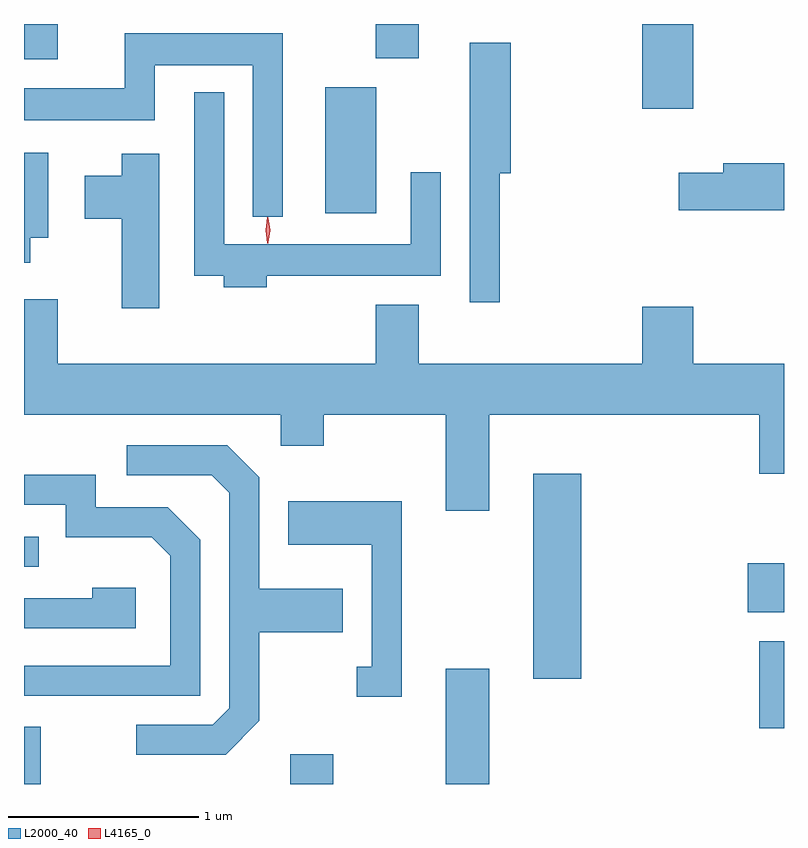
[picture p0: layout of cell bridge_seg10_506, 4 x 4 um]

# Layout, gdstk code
import gdstk
lib = gdstk.Library(unit=1e-6, precision=1e-09)
def R(c, l, rs):  # rectangles x0, y0, x1, y1
    for r in rs: c.add(gdstk.rectangle(r[:2], r[2:], *l))
def P(c, l, *ps):  # polygons
    for p in ps: c.add(gdstk.Polygon(p, *l))
L2000_40 = (2000, 40)
L4165_0 = (4165, 0)

bridge_seg10_506 = lib.new_cell('bridge_seg10_506')
R(bridge_seg10_506, L2000_40, [(771.261,2149.712,771.349,2150.014), (772.661,2149.712,772.889,2149.869), (773.481,2149.712,773.709,2150.319), (775.131,2150.006,775.261,2150.464), (773.941,2150.266,774.194,2151.344), (775.071,2150.616,775.261,2150.874), (771.261,2150.856,771.338,2151.014), (772.846,2152.716,773.114,2153.379), (774.516,2153.266,774.784,2153.712), (771.261,2153.526,771.439,2153.712), (773.111,2153.531,773.339,2153.712)])
P(bridge_seg10_506, L2000_40, [(772.624,2153.664),(771.791,2153.664),(771.791,2153.374),(771.261,2153.374),(771.261,2153.206),(771.949,2153.206),(771.949,2153.496),(772.466,2153.496),(772.466,2152.698),(772.624,2152.698)],
  [(773.764,2152.926),(773.824,2152.926),(773.824,2153.614),(773.606,2153.614),(773.606,2152.248),(773.764,2152.248)],
  [(772.539,2152.386),(773.454,2152.386),(773.454,2152.933),(773.296,2152.933),(773.296,2152.554),(772.314,2152.554),(772.314,2153.353),(772.156,2153.353),(772.156,2152.386),(772.311,2152.386),(772.311,2152.326),(772.539,2152.326)],
  [(771.294,2152.586),(771.389,2152.586),(771.389,2153.034),(771.261,2153.034),(771.261,2152.456),(771.294,2152.456)],
  [(771.974,2153.029),(771.776,2153.029),(771.776,2152.914),(771.581,2152.914),(771.581,2152.686),(771.776,2152.686),(771.776,2152.216),(771.974,2152.216)],
  [(775.261,2152.979),(774.941,2152.979),(774.941,2152.929),(774.706,2152.929),(774.706,2152.731),(775.261,2152.731)],
  [(773.709,2151.656),(775.131,2151.656),(775.131,2151.346),(775.261,2151.346),(775.261,2151.924),(774.784,2151.924),(774.784,2152.224),(774.516,2152.224),(774.516,2151.924),(773.339,2151.924),(773.339,2152.234),(773.111,2152.234),(773.111,2151.924),(771.439,2151.924),(771.439,2152.264),(771.261,2152.264),(771.261,2151.656),(772.611,2151.656),(772.611,2151.491),(772.839,2151.491),(772.839,2151.656),(773.481,2151.656),(773.481,2151.151),(773.709,2151.151)],
  [(772.499,2150.044),(772.499,2150.511),(772.939,2150.511),(772.939,2150.739),(772.499,2150.739),(772.499,2151.327),(772.332,2151.494),(771.803,2151.494),(771.803,2151.336),(772.249,2151.336),(772.341,2151.244),(772.341,2150.112),(772.254,2150.024),(771.853,2150.024),(771.853,2149.866),(772.322,2149.866)],
  [(772.189,2150.997),(772.017,2151.169),(771.639,2151.169),(771.639,2151.339),(771.261,2151.339),(771.261,2151.181),(771.481,2151.181),(771.481,2151.011),(771.934,2151.011),(772.031,2150.914),(772.031,2150.334),(771.261,2150.334),(771.261,2150.176),(772.189,2150.176)],
  [(773.249,2151.199),(772.651,2151.199),(772.651,2150.971),(773.091,2150.971),(773.091,2150.329),(773.013,2150.329),(773.013,2150.171),(773.249,2150.171)],
  [(771.849,2150.744),(771.621,2150.744),(771.621,2150.689),(771.261,2150.689),(771.261,2150.531),(771.849,2150.531)])
P(bridge_seg10_506, L4165_0, [(772.542,2152.557),(772.533,2152.627),(772.542,2152.696),(772.543,2152.696),(772.543,2152.696),(772.553,2152.627),(772.543,2152.557),(772.543,2152.557)],
  [(772.546,2152.559),(772.545,2152.56),(772.536,2152.626),(772.545,2152.692),(772.546,2152.693),(772.546,2152.692),(772.556,2152.626),(772.546,2152.56)])

lib.write_gds('bridge_seg10_506.gds')
